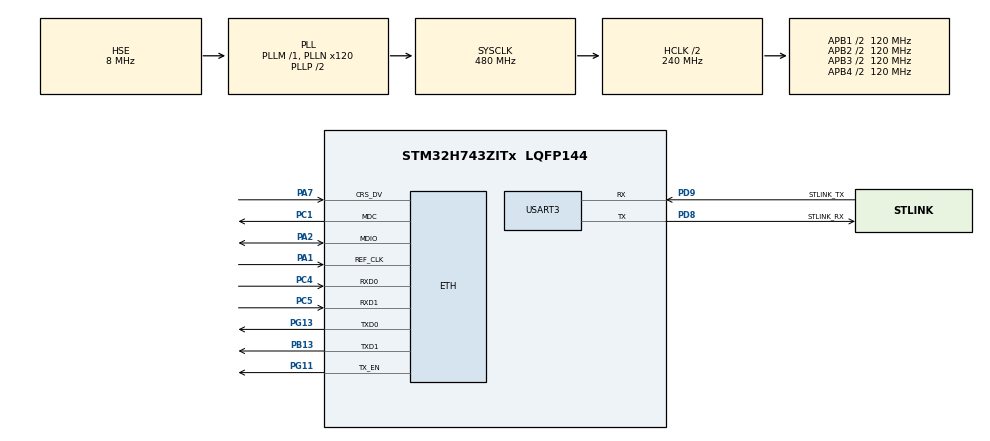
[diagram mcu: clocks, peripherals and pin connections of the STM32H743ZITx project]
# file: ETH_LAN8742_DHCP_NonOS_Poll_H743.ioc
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CORTEX_M7.AccessPermission_S-Cortex_Memory_Protection_Unit_Region1_Settings_S=MPU_REGION_FULL_ACCESS
CORTEX_M7.AccessPermission_S-Cortex_Memory_Protection_Unit_Region2_Settings_S=MPU_REGION_FULL_ACCESS
CORTEX_M7.BaseAddress_S-Cortex_Memory_Protection_Unit_Region1_Settings_S=0x30020000
CORTEX_M7.BaseAddress_S-Cortex_Memory_Protection_Unit_Region2_Settings_S=0x30040000
CORTEX_M7.CPU_DCache=Enabled
CORTEX_M7.CPU_ICache=Enabled
CORTEX_M7.DisableExec_S-Cortex_Memory_Protection_Unit_Region1_Settings_S=MPU_INSTRUCTION_ACCESS_DISABLE
CORTEX_M7.DisableExec_S-Cortex_Memory_Protection_Unit_Region2_Settings_S=MPU_INSTRUCTION_ACCESS_DISABLE
CORTEX_M7.Enable_S-Cortex_Memory_Protection_Unit_Region1_Settings_S=MPU_REGION_ENABLE
CORTEX_M7.Enable_S-Cortex_Memory_Protection_Unit_Region2_Settings_S=MPU_REGION_ENABLE
CORTEX_M7.IsBufferable_S-Cortex_Memory_Protection_Unit_Region2_Settings_S=MPU_ACCESS_BUFFERABLE
CORTEX_M7.IsShareable_S-Cortex_Memory_Protection_Unit_Region2_Settings_S=MPU_ACCESS_SHAREABLE
CORTEX_M7.Size_S-Cortex_Memory_Protection_Unit_Region1_Settings_S=MPU_REGION_SIZE_128KB
CORTEX_M7.Size_S-Cortex_Memory_Protection_Unit_Region2_Settings_S=MPU_REGION_SIZE_512B
CORTEX_M7.TypeExtField_S-Cortex_Memory_Protection_Unit_Region1_Settings_S=MPU_TEX_LEVEL1
CORTEX_M7.default_mode_Activation=1
ETH.MediaInterface=HAL_ETH_RMII_MODE
ETH.RxDescAddress=0x30040000
ETH.TxDescAddress=0x30040200
LWIP.BSP.number=1
LWIP.LWIP_RAM_HEAP_POINTER=0x30020000
LWIP.MEM_SIZE=131048
LWIP.TCP_MSS=1460
LWIP.TCP_SND_BUF=5840
LWIP.TCP_SND_QUEUELEN=16
LWIP.TCP_WND=5840
LWIP.Version=v2.1.2_Cube
LWIP0.BSP.STBoard=false
LWIP0.BSP.api=BSP_COMPONENT_DRIVER
LWIP0.BSP.component=LAN8742
LWIP0.BSP.instance=LAN8742
LWIP0.BSP.name=Driver_PHY
LWIP0.BSP.semaphore=S_LAN8742
LWIP0.BSP.solution=LAN8742
Mcu.Family=STM32H7
Mcu.Name=STM32H743ZITx
Mcu.Package=LQFP144
NVIC.PriorityGroup=NVIC_PRIORITYGROUP_4
PA1.GPIO_Speed=GPIO_SPEED_FREQ_VERY_HIGH
PA1.Mode=RMII
PA1.Signal=ETH_REF_CLK
PA13\ (JTMS/SWDIO).Mode=Serial_Wire
PA13\ (JTMS/SWDIO).Signal=DEBUG_JTMS-SWDIO
PA14\ (JTCK/SWCLK).Mode=Serial_Wire
PA14\ (JTCK/SWCLK).Signal=DEBUG_JTCK-SWCLK
PA2.GPIO_Speed=GPIO_SPEED_FREQ_VERY_HIGH
PA2.Mode=RMII
PA2.Signal=ETH_MDIO
PA7.GPIO_Speed=GPIO_SPEED_FREQ_VERY_HIGH
PA7.Mode=RMII
PA7.Signal=ETH_CRS_DV
PB13.GPIO_Speed=GPIO_SPEED_FREQ_VERY_HIGH
PB13.Mode=RMII
PB13.Signal=ETH_TXD1
PC1.GPIO_Speed=GPIO_SPEED_FREQ_VERY_HIGH
PC1.Mode=RMII
PC1.Signal=ETH_MDC
PC14-OSC32_IN\ (OSC32_IN).Mode=LSE-External-Oscillator
PC14-OSC32_IN\ (OSC32_IN).Signal=RCC_OSC32_IN
PC15-OSC32_OUT\ (OSC32_OUT).Mode=LSE-External-Oscillator
PC15-OSC32_OUT\ (OSC32_OUT).Signal=RCC_OSC32_OUT
PC4.GPIO_Speed=GPIO_SPEED_FREQ_VERY_HIGH
PC4.Mode=RMII
PC4.Signal=ETH_RXD0
PC5.GPIO_Speed=GPIO_SPEED_FREQ_VERY_HIGH
PC5.Mode=RMII
PC5.Signal=ETH_RXD1
PD8.GPIO_Label=STLINK_RX
PD8.Mode=Asynchronous
PD8.Signal=USART3_TX
PD9.GPIO_Label=STLINK_TX
PD9.Mode=Asynchronous
PD9.Signal=USART3_RX
PG11.GPIO_Speed=GPIO_SPEED_FREQ_VERY_HIGH
PG11.Mode=RMII
PG11.Signal=ETH_TX_EN
PG13.GPIO_Speed=GPIO_SPEED_FREQ_VERY_HIGH
PG13.Mode=RMII
PG13.Signal=ETH_TXD0
PH0-OSC_IN\ (PH0).Mode=HSE-External-Clock-Source
PH0-OSC_IN\ (PH0).Signal=RCC_OSC_IN
ProjectManager.HeapSize=0x2000
ProjectManager.StackSize=0x4000
ProjectManager.TargetToolchain=STM32CubeIDE
RCC.ADCFreq_Value=16125000
RCC.APB1Freq_Value=120000000
RCC.APB2Freq_Value=120000000
RCC.APB3Freq_Value=120000000
RCC.APB4Freq_Value=120000000
RCC.CortexFreq_Value=480000000
RCC.D1PPRE=RCC_APB3_DIV2
RCC.D2PPRE1=RCC_APB1_DIV2
RCC.D2PPRE2=RCC_APB2_DIV2
RCC.D3PPRE=RCC_APB4_DIV2
RCC.DIVM1=1
RCC.DIVN1=120
RCC.DIVQ1=4
RCC.HCLKFreq_Value=240000000
RCC.HPRE=RCC_HCLK_DIV2
RCC.HSE_VALUE=8000000
RCC.PLLFRACN=0
RCC.PLLSourceVirtual=RCC_PLLSOURCE_HSE
RCC.PWR_Regulator_Voltage_Scale=PWR_REGULATOR_VOLTAGE_SCALE0
RCC.SYSCLKFreq_VALUE=480000000
RCC.SYSCLKSource=RCC_SYSCLKSOURCE_PLLCLK
RCC.USBFreq_Value=240000000
USART3.VirtualMode-Asynchronous=VM_ASYNC
VP_LWIP_VS_Enabled.Mode=Enabled
board=NUCLEO-H743ZI2

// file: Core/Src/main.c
/* USER CODE BEGIN Header */
/**
  ******************************************************************************
  * @file           : main.c
  * @brief          : Main program body
  ******************************************************************************
  * @attention
  *
  * Copyright (c) 2024 STMicroelectronics.
  * All rights reserved.
  *
  * This software is licensed under terms that can be found in the LICENSE file
  * in the root directory of this software component.
  * If no LICENSE file comes with this software, it is provided AS-IS.
  *
  ******************************************************************************
  */
/* USER CODE END Header */
#include "main.h"
#include "lwip.h"

/* USER CODE BEGIN Includes */
#include "lwip/udp.h"
/* USER CODE END Includes */

UART_HandleTypeDef huart3;

void SystemClock_Config(void);
static void MPU_Config(void);
static void MX_GPIO_Init(void);
static void MX_USART3_UART_Init(void);

/* USER CODE BEGIN 0 */

/* With GCC, small printf (option LD Linker->Libraries->Small printf set to 'Yes') calls __io_putchar() */
#ifdef __GNUC__
#define PUTCHAR_PROTOTYPE int __io_putchar(int ch)
#else
#define PUTCHAR_PROTOTYPE int fputc(int ch, FILE *f)
#endif /* __GNUC__ */

PUTCHAR_PROTOTYPE
{
    HAL_UART_Transmit(&huart3, (uint8_t *)&ch, 1, 0xFFFF); // for printf()
    return ch;
}

/* USER CODE END 0 */

int main(void)
{

  /* MPU Configuration--------------------------------------------------------*/
  MPU_Config();
/* Enable the CPU Cache */

  /* Enable I-Cache---------------------------------------------------------*/
  SCB_EnableICache();

  /* Enable D-Cache---------------------------------------------------------*/
  SCB_EnableDCache();

  /* MCU Configuration--------------------------------------------------------*/

  /* Reset of all peripherals, Initializes the Flash interface and the Systick. */
  HAL_Init();

  /* Configure the system clock */
  SystemClock_Config();

  /* Initialize all configured peripherals */
  MX_GPIO_Init();
  MX_USART3_UART_Init();
  MX_LWIP_Init();

  /* Infinite loop */
  /* USER CODE BEGIN WHILE */
  while (1)
  {
	  MX_LWIP_Process();

	  static uint32_t previous = 0;
	  if((HAL_GetTick() - previous)>=1000)
	  {
		  previous = HAL_GetTick();
		  extern struct netif gnetif;
		  printf("%ld - loop: ip addr %s\n", HAL_GetTick(), ip4addr_ntoa(netif_ip_addr4(&gnetif)));
	  }

    /* USER CODE END WHILE */

  }
}

void SystemClock_Config(void)
{
  RCC_OscInitTypeDef RCC_OscInitStruct = {0};
  RCC_ClkInitTypeDef RCC_ClkInitStruct = {0};

  /** Supply configuration update enable
  */
  HAL_PWREx_ConfigSupply(PWR_LDO_SUPPLY);

  /** Configure the main internal regulator output voltage
  */
  __HAL_PWR_VOLTAGESCALING_CONFIG(PWR_REGULATOR_VOLTAGE_SCALE1);

  while(!__HAL_PWR_GET_FLAG(PWR_FLAG_VOSRDY)) {}

  __HAL_RCC_SYSCFG_CLK_ENABLE();
  __HAL_PWR_VOLTAGESCALING_CONFIG(PWR_REGULATOR_VOLTAGE_SCALE0);

  while(!__HAL_PWR_GET_FLAG(PWR_FLAG_VOSRDY)) {}

  /** Initializes the RCC Oscillators according to the specified parameters
  * in the RCC_OscInitTypeDef structure.
  */
  RCC_OscInitStruct.OscillatorType = RCC_OSCILLATORTYPE_HSE;
  RCC_OscInitStruct.HSEState = RCC_HSE_BYPASS;
  RCC_OscInitStruct.PLL.PLLState = RCC_PLL_ON;
  RCC_OscInitStruct.PLL.PLLSource = RCC_PLLSOURCE_HSE;
  RCC_OscInitStruct.PLL.PLLM = 1;
  RCC_OscInitStruct.PLL.PLLN = 120;
  RCC_OscInitStruct.PLL.PLLP = 2;
  RCC_OscInitStruct.PLL.PLLQ = 4;
  RCC_OscInitStruct.PLL.PLLR = 2;
  RCC_OscInitStruct.PLL.PLLRGE = RCC_PLL1VCIRANGE_3;
  RCC_OscInitStruct.PLL.PLLVCOSEL = RCC_PLL1VCOWIDE;
  RCC_OscInitStruct.PLL.PLLFRACN = 0;
  if (HAL_RCC_OscConfig(&RCC_OscInitStruct) != HAL_OK)
  {
    Error_Handler();
  }

  /** Initializes the CPU, AHB and APB buses clocks
  */
  RCC_ClkInitStruct.ClockType = RCC_CLOCKTYPE_HCLK|RCC_CLOCKTYPE_SYSCLK
                              |RCC_CLOCKTYPE_PCLK1|RCC_CLOCKTYPE_PCLK2
                              |RCC_CLOCKTYPE_D3PCLK1|RCC_CLOCKTYPE_D1PCLK1;
  RCC_ClkInitStruct.SYSCLKSource = RCC_SYSCLKSOURCE_PLLCLK;
  RCC_ClkInitStruct.SYSCLKDivider = RCC_SYSCLK_DIV1;
  RCC_ClkInitStruct.AHBCLKDivider = RCC_HCLK_DIV2;
  RCC_ClkInitStruct.APB3CLKDivider = RCC_APB3_DIV2;
  RCC_ClkInitStruct.APB1CLKDivider = RCC_APB1_DIV2;
  RCC_ClkInitStruct.APB2CLKDivider = RCC_APB2_DIV2;
  RCC_ClkInitStruct.APB4CLKDivider = RCC_APB4_DIV2;

  if (HAL_RCC_ClockConfig(&RCC_ClkInitStruct, FLASH_LATENCY_4) != HAL_OK)
  {
    Error_Handler();
  }
}

static void MX_USART3_UART_Init(void)
{

  huart3.Instance = USART3;
  huart3.Init.BaudRate = 115200;
  huart3.Init.WordLength = UART_WORDLENGTH_8B;
  huart3.Init.StopBits = UART_STOPBITS_1;
  huart3.Init.Parity = UART_PARITY_NONE;
  huart3.Init.Mode = UART_MODE_TX_RX;
  huart3.Init.HwFlowCtl = UART_HWCONTROL_NONE;
  huart3.Init.OverSampling = UART_OVERSAMPLING_16;
  huart3.Init.OneBitSampling = UART_ONE_BIT_SAMPLE_DISABLE;
  huart3.Init.ClockPrescaler = UART_PRESCALER_DIV1;
  huart3.AdvancedInit.AdvFeatureInit = UART_ADVFEATURE_NO_INIT;
  if (HAL_UART_Init(&huart3) != HAL_OK)
  {
    Error_Handler();
  }
  if (HAL_UARTEx_SetTxFifoThreshold(&huart3, UART_TXFIFO_THRESHOLD_1_8) != HAL_OK)
  {
    Error_Handler();
  }
  if (HAL_UARTEx_SetRxFifoThreshold(&huart3, UART_RXFIFO_THRESHOLD_1_8) != HAL_OK)
  {
    Error_Handler();
  }
  if (HAL_UARTEx_DisableFifoMode(&huart3) != HAL_OK)
  {
    Error_Handler();
  }

}

static void MX_GPIO_Init(void)
{

  /* GPIO Ports Clock Enable */
  __HAL_RCC_GPIOC_CLK_ENABLE();
  __HAL_RCC_GPIOH_CLK_ENABLE();
  __HAL_RCC_GPIOA_CLK_ENABLE();
  __HAL_RCC_GPIOB_CLK_ENABLE();
  __HAL_RCC_GPIOD_CLK_ENABLE();
  __HAL_RCC_GPIOG_CLK_ENABLE();

}

/* MPU Configuration */

void MPU_Config(void)
{
  MPU_Region_InitTypeDef MPU_InitStruct = {0};

  /* Disables the MPU */
  HAL_MPU_Disable();

  /** Initializes and configures the Region and the memory to be protected
  */
  MPU_InitStruct.Enable = MPU_REGION_ENABLE;
  MPU_InitStruct.Number = MPU_REGION_NUMBER0;
  MPU_InitStruct.BaseAddress = 0x0;
  MPU_InitStruct.Size = MPU_REGION_SIZE_4GB;
  MPU_InitStruct.SubRegionDisable = 0x87;
  MPU_InitStruct.TypeExtField = MPU_TEX_LEVEL0;
  MPU_InitStruct.AccessPermission = MPU_REGION_NO_ACCESS;
  MPU_InitStruct.DisableExec = MPU_INSTRUCTION_ACCESS_DISABLE;
  MPU_InitStruct.IsShareable = MPU_ACCESS_SHAREABLE;
  MPU_InitStruct.IsCacheable = MPU_ACCESS_NOT_CACHEABLE;
  MPU_InitStruct.IsBufferable = MPU_ACCESS_NOT_BUFFERABLE;

  HAL_MPU_ConfigRegion(&MPU_InitStruct);

  /** Initializes and configures the Region and the memory to be protected
  */
  MPU_InitStruct.Number = MPU_REGION_NUMBER1;
  MPU_InitStruct.BaseAddress = 0x30020000;
  MPU_InitStruct.Size = MPU_REGION_SIZE_128KB;
  MPU_InitStruct.SubRegionDisable = 0x0;
  MPU_InitStruct.TypeExtField = MPU_TEX_LEVEL1;
  MPU_InitStruct.AccessPermission = MPU_REGION_FULL_ACCESS;
  MPU_InitStruct.IsShareable = MPU_ACCESS_NOT_SHAREABLE;

  HAL_MPU_ConfigRegion(&MPU_InitStruct);

  /** Initializes and configures the Region and the memory to be protected
  */
  MPU_InitStruct.Number = MPU_REGION_NUMBER2;
  MPU_InitStruct.BaseAddress = 0x30040000;
  MPU_InitStruct.Size = MPU_REGION_SIZE_512B;
  MPU_InitStruct.TypeExtField = MPU_TEX_LEVEL0;
  MPU_InitStruct.IsShareable = MPU_ACCESS_SHAREABLE;
  MPU_InitStruct.IsBufferable = MPU_ACCESS_BUFFERABLE;

  HAL_MPU_ConfigRegion(&MPU_InitStruct);
  /* Enables the MPU */
  HAL_MPU_Enable(MPU_PRIVILEGED_DEFAULT);

}

void Error_Handler(void)
{
  __disable_irq();
  while (1)
  {
  }
}
